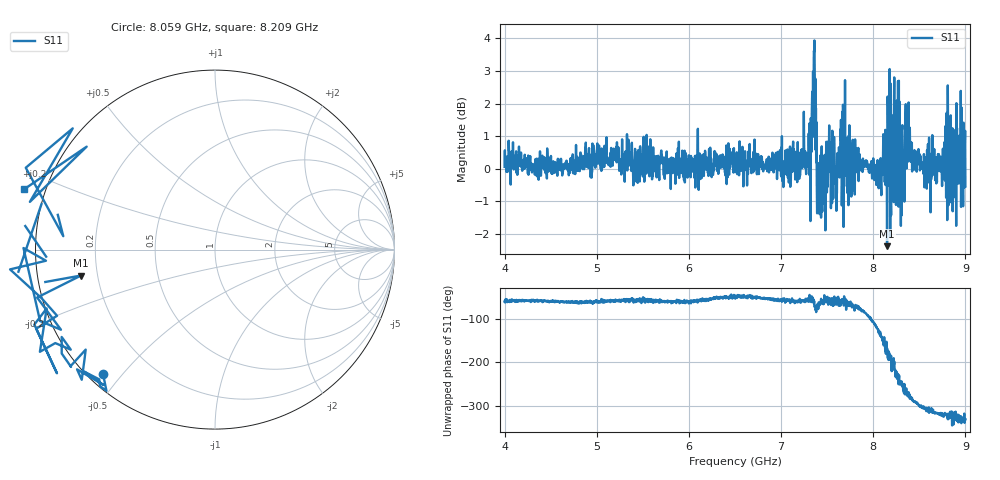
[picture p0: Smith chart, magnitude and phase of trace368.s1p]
! Created with skrf 1.8.0 (http://scikit-rf.org).
# Hz S RI R 50.0
!freq ReS11 ImS11
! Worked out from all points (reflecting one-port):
!   1601 points, 4 GHz to 9 GHz, reference 50 ohm
!   lowest |S11| = -2.4 dB at 8.15 GHz (marker M1), VSWR 7.35, Z = 6.86 - j4.7 ohm
!   phase of S11 starts at -60 deg and turns -272 deg over the sweep
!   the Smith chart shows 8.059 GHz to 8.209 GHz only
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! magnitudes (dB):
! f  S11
! 4 GHz  0.1
! 4.625 GHz  -0.2
! 5.25 GHz  0.3
! 5.875 GHz  0.0
! 6.5 GHz  0.1
! 7.125 GHz  0.5
! 7.294 GHz  0.5
! 7.319 GHz  -1.6
! 7.347 GHz  3.0
! 7.359 GHz  3.6
! 7.412 GHz  -1.0
! 7.512 GHz  0.8
! 7.591 GHz  0.1
! 7.669 GHz  0.7
! 7.75 GHz  0.3
! 7.828 GHz  0.1
! 8.062 GHz  -0.1
! 8.15 GHz  -2.4
! 8.209 GHz  0.9
! 8.244 GHz  0.5
! 8.312 GHz  1.2
! 8.334 GHz  0.5
! 8.375 GHz  0.9
! 8.556 GHz  -0.6
! 8.834 GHz  1.4
! 8.875 GHz  -0.6
! 8.956 GHz  0.0
! 9 GHz  -0.5
